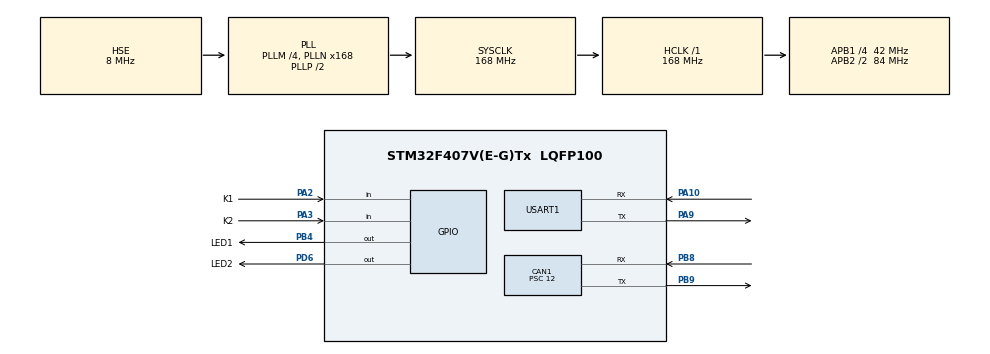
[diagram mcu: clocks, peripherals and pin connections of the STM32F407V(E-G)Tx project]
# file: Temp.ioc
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CAN1.BS1=CAN_BS1_5TQ
CAN1.CalculateBaudRate=500000
CAN1.CalculateTimeBit=2000
CAN1.CalculateTimeQuantum=285.7142857142857
CAN1.Mode=CAN_MODE_LOOPBACK
CAN1.Prescaler=12
CAN1.SJW=CAN_SJW_2TQ
Mcu.Family=STM32F4
Mcu.Name=STM32F407V(E-G)Tx
Mcu.Package=LQFP100
NVIC.CAN1_RX0_IRQn=true\:0\:0\:false\:false\:true\:true\:true\:true
NVIC.PriorityGroup=NVIC_PRIORITYGROUP_4
NVIC.USART1_IRQn=true\:0\:0\:false\:false\:true\:true\:true\:true
PA10.Mode=Asynchronous
PA10.Signal=USART1_RX
PA13.Mode=Serial_Wire
PA13.Signal=SYS_JTMS-SWDIO
PA14.Mode=Serial_Wire
PA14.Signal=SYS_JTCK-SWCLK
PA2.GPIO_Label=K1
PA2.GPIO_Mode=GPIO_MODE_INPUT
PA2.Signal=GPIO_Input
PA3.GPIO_Label=K2
PA3.Signal=GPIO_Input
PA9.Mode=Asynchronous
PA9.Signal=USART1_TX
PB4.GPIO_Label=LED1
PB4.GPIO_ModeDefaultOutputPP=GPIO_MODE_OUTPUT_PP
PB4.GPIO_PuPd=GPIO_PULLUP
PB4.GPIO_Speed=GPIO_SPEED_FREQ_HIGH
PB4.PinState=GPIO_PIN_SET
PB4.Signal=GPIO_Output
PB8.Mode=CAN_Activate
PB8.Signal=CAN1_RX
PB9.Mode=CAN_Activate
PB9.Signal=CAN1_TX
PC14-OSC32_IN.Mode=LSE-External-Oscillator
PC14-OSC32_IN.Signal=RCC_OSC32_IN
PC15-OSC32_OUT.Mode=LSE-External-Oscillator
PC15-OSC32_OUT.Signal=RCC_OSC32_OUT
PD6.GPIO_Label=LED2
PD6.GPIO_ModeDefaultOutputPP=GPIO_MODE_OUTPUT_PP
PD6.GPIO_PuPd=GPIO_PULLUP
PD6.GPIO_Speed=GPIO_SPEED_FREQ_HIGH
PD6.PinState=GPIO_PIN_SET
PD6.Signal=GPIO_Output
PH0-OSC_IN.Mode=HSE-External-Oscillator
PH0-OSC_IN.Signal=RCC_OSC_IN
PH1-OSC_OUT.Mode=HSE-External-Oscillator
PH1-OSC_OUT.Signal=RCC_OSC_OUT
ProjectManager.HeapSize=0x200
ProjectManager.StackSize=0x400
ProjectManager.TargetToolchain=MDK-ARM V5.32
RCC.48MHZClocksFreq_Value=84000000
RCC.AHBFreq_Value=168000000
RCC.APB1CLKDivider=RCC_HCLK_DIV4
RCC.APB1Freq_Value=42000000
RCC.APB1TimFreq_Value=84000000
RCC.APB2CLKDivider=RCC_HCLK_DIV2
RCC.APB2Freq_Value=84000000
RCC.APB2TimFreq_Value=168000000
RCC.CortexFreq_Value=168000000
RCC.HCLKFreq_Value=168000000
RCC.HSE_VALUE=8000000
RCC.HSI_VALUE=16000000
RCC.PLLM=4
RCC.PLLN=168
RCC.PLLSourceVirtual=RCC_PLLSOURCE_HSE
RCC.RCC_MCO1Source=RCC_MCO1SOURCE_HSE
RCC.RCC_MCODiv2=RCC_MCODIV_5
RCC.SYSCLKFreq_VALUE=168000000
RCC.SYSCLKSource=RCC_SYSCLKSOURCE_PLLCLK
RCC.VCOOutputFreq_Value=336000000
USART1.VirtualMode=VM_ASYNC
board=custom

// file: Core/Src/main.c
/* USER CODE BEGIN Header */
/**
  ******************************************************************************
  * @file           : main.c
  * @brief          : Main program body
  ******************************************************************************
  * @attention
  *
  * Copyright (c) 2025 STMicroelectronics.
  * All rights reserved.
  *
  * This software is licensed under terms that can be found in the LICENSE file
  * in the root directory of this software component.
  * If no LICENSE file comes with this software, it is provided AS-IS.
  *
  ******************************************************************************
  */
/* USER CODE END Header */
#include "main.h"
#include "can.h"
#include "usart.h"
#include "gpio.h"

/* USER CODE BEGIN Includes */
#include "stdio.h"//printf函数�?
/* USER CODE END Includes */

/* USER CODE BEGIN PTD */
uint8_t rx_buff[100];  //接收缓存
uint8_t rx_done = 0; //接收完成标志
uint8_t rx_cnt = 0;//接收数据长度
//CAN全局变量
CAN_TxHeaderTypeDef TxHeaderCAN1;
CAN_RxHeaderTypeDef RxHeaderCAN1;
uint8_t TxDataCAN1[8],RxDataCAN1[8];
uint8_t CAN1_Rx_Flag=0;//CAN接收标志
/* USER CODE END PTD */

void SystemClock_Config(void);
/* USER CODE BEGIN PFP */
void filter_init(void);
void CAN_Test(void);
/* USER CODE END PFP */

int main(void)
{

  /* MCU Configuration--------------------------------------------------------*/

  /* Reset of all peripherals, Initializes the Flash interface and the Systick. */
  HAL_Init();

  /* Configure the system clock */
  SystemClock_Config();

  /* Initialize all configured peripherals */
  MX_GPIO_Init();
  MX_USART1_UART_Init();
  MX_CAN1_Init();
  /* USER CODE BEGIN 2 */

  printf("hello,enjoy!\r\n");

	filter_init();
	 HAL_Delay(1000);
	CAN_Test();
  /* USER CODE END 2 */

  /* Infinite loop */
  while (1)
  {

    /* USER CODE BEGIN 3 */
//处理CAN接收数据
      if(CAN1_Rx_Flag)
      {
          CAN1_Rx_Flag = 0;//清空CAN接收标志
      		printf("CAN receive data\r\n");
      		for (int i = 0; i < 8; i++)
        	printf(" 0x%02x", RxDataCAN1[i]);
      		printf("\r\n");
      }
  }
  /* USER CODE END 3 */
}

void SystemClock_Config(void)
{
  RCC_OscInitTypeDef RCC_OscInitStruct = {0};
  RCC_ClkInitTypeDef RCC_ClkInitStruct = {0};

  /** Configure the main internal regulator output voltage
  */
  __HAL_RCC_PWR_CLK_ENABLE();
  __HAL_PWR_VOLTAGESCALING_CONFIG(PWR_REGULATOR_VOLTAGE_SCALE1);

  /** Initializes the RCC Oscillators according to the specified parameters
  * in the RCC_OscInitTypeDef structure.
  */
  RCC_OscInitStruct.OscillatorType = RCC_OSCILLATORTYPE_HSE;
  RCC_OscInitStruct.HSEState = RCC_HSE_ON;
  RCC_OscInitStruct.PLL.PLLState = RCC_PLL_ON;
  RCC_OscInitStruct.PLL.PLLSource = RCC_PLLSOURCE_HSE;
  RCC_OscInitStruct.PLL.PLLM = 4;
  RCC_OscInitStruct.PLL.PLLN = 168;
  RCC_OscInitStruct.PLL.PLLP = RCC_PLLP_DIV2;
  RCC_OscInitStruct.PLL.PLLQ = 4;
  if (HAL_RCC_OscConfig(&RCC_OscInitStruct) != HAL_OK)
  {
    Error_Handler();
  }

  /** Initializes the CPU, AHB and APB buses clocks
  */
  RCC_ClkInitStruct.ClockType = RCC_CLOCKTYPE_HCLK|RCC_CLOCKTYPE_SYSCLK
                              |RCC_CLOCKTYPE_PCLK1|RCC_CLOCKTYPE_PCLK2;
  RCC_ClkInitStruct.SYSCLKSource = RCC_SYSCLKSOURCE_PLLCLK;
  RCC_ClkInitStruct.AHBCLKDivider = RCC_SYSCLK_DIV1;
  RCC_ClkInitStruct.APB1CLKDivider = RCC_HCLK_DIV4;
  RCC_ClkInitStruct.APB2CLKDivider = RCC_HCLK_DIV2;

  if (HAL_RCC_ClockConfig(&RCC_ClkInitStruct, FLASH_LATENCY_5) != HAL_OK)
  {
    Error_Handler();
  }
}

/* USER CODE BEGIN 4 */
#ifdef __GNUC__
#define PUTCHAR_PROTOTYPE int __io_putchar(int ch)
#else
#define PUTCHAR_PROTOTYPE int fputc(int ch,FILE *f)
#endif /* __GNUC__ */
//重定向printf函数
PUTCHAR_PROTOTYPE
{
    HAL_UART_Transmit(&huart1,(uint8_t *)&ch,1,HAL_MAX_DELAY);//输出指向串口USART1
    return ch;
}
void filter_init(void)
{
    HAL_StatusTypeDef HAL_Status;
    CAN_FilterTypeDef Filter0;
    Filter0.FilterBank = 1;//滤波器编�?
    Filter0.FilterMode = CAN_FILTERMODE_IDMASK;
    Filter0.FilterScale = CAN_FILTERSCALE_32BIT;
    Filter0.FilterIdHigh = 0x00;
    Filter0.FilterIdLow = 0x00;
    Filter0.FilterMaskIdHigh = 0x00;
    Filter0.FilterMaskIdLow = 0x00;
    Filter0.FilterFIFOAssignment = CAN_FILTER_FIFO0;
    Filter0.FilterActivation = CAN_FILTER_ENABLE;

    HAL_Status = HAL_CAN_ConfigFilter(&hcan1,&Filter0);
    if(HAL_Status != HAL_OK)
    {
        printf("CAN Filter set Fail!code:%d\r\n",HAL_Status);
        Error_Handler();
    }
}
//重定义CAN接收中断回调函数
void HAL_CAN_RxFifo0MsgPendingCallback(CAN_HandleTypeDef *hcan)
{
    HAL_StatusTypeDef HAL_Status;
    if(hcan->Instance == CAN1)
    {
        HAL_Status = HAL_CAN_GetRxMessage(hcan,CAN_RX_FIFO0,&RxHeaderCAN1,RxDataCAN1);
        if(HAL_Status == HAL_OK)
        {
            //处理接收数据
            CAN1_Rx_Flag = 1;
        }
    }
}
void CAN_Test(void)
{
    //发�?�数据CAN
    TxHeaderCAN1.ExtId = 0x1800F001;
    TxHeaderCAN1.DLC = 8;
    TxHeaderCAN1.IDE = CAN_ID_STD;
    TxHeaderCAN1.RTR = CAN_RTR_DATA;
    TxHeaderCAN1.StdId = 0x01;
    TxHeaderCAN1.TransmitGlobalTime = ENABLE;

    uint32_t TxMailBox;
    HAL_StatusTypeDef HAL_Status;
    printf("\r\n\r\n------------------CAN test------------------\r\n\r\n");
    for (int i = 0; i < 8; ++i) TxDataCAN1[i] = i;
    printf("CAN send data\r\n");
    for (int i = 0; i < 8; ++i) printf(" 0x%02x",TxDataCAN1[i]);
    printf("\r\n");
    HAL_CAN_AddTxMessage(&hcan1,&TxHeaderCAN1,TxDataCAN1,&TxMailBox);

}
/* USER CODE END 4 */

void Error_Handler(void)
{
  __disable_irq();
  while (1)
  {
  }
}
